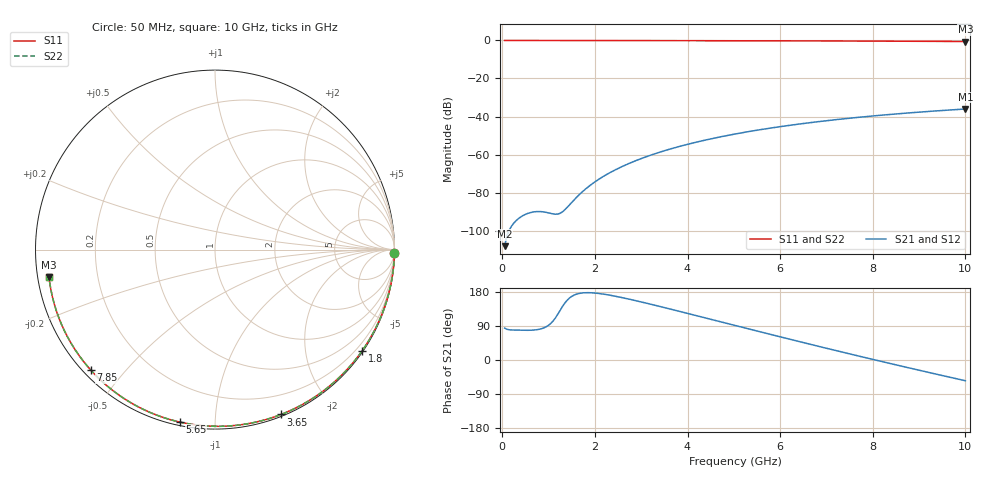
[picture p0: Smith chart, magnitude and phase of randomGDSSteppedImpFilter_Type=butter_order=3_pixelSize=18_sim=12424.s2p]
! freq	dB(S11)	phase(S11)	dB(S12)	phase(S12)
!  dB(S21)	phase(S21)	dB(S22)	phase(S22)
!S-par simulation data
#  GHz  S  DB  R 50
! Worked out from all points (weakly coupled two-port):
!   200 points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, 50 MHz to 10 GHz, reference 50 ohm
!   highest |S21| = -36.05 dB at 10 GHz (marker M1); lowest = -108.2 dB at 50 MHz (marker M2)
!   lowest |S11| = -0.6 dB at 10 GHz (marker M3), VSWR 31.00, Z = 1.62 - j4.16 ohm
!   |S11| at or under -10 dB: nowhere
!   |S22| runs from -0.6 to 0.0 dB; largest |S21 - S12| = 0
!   S11 on the Smith chart (normalised r, x): 50 MHz: open; 1.8 GHz: 0.03, -3.21; 3.65 GHz: 0.02, -1.48; 5.65 GHz: 0.02, -0.82; 7.85 GHz: 0.02, -0.40; 10 GHz: 0.03, -0.08
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0.05  -0.00 -1.0  -108.18 84.3  -108.18 84.3  -0.00 -1.0
0.45  -0.01 -8.8  -92.05 78.5  -92.05 78.5  -0.01 -8.8
0.85  -0.02 -16.6  -90.05 82.7  -90.05 82.7  -0.02 -16.6
1.7  -0.04 -32.8  -80.22 176.5  -80.22 176.5  -0.04 -32.8
1.75  -0.04 -33.7  -79.13 177.2  -79.13 177.2  -0.04 -33.7
1.8  -0.04 -34.6  -78.08 177.6  -78.08 177.6  -0.04 -34.6
1.95  -0.05 -37.4  -75.24 177.2  -75.24 177.2  -0.05 -37.4
2.1  -0.05 -40.2  -72.75 175.3  -72.75 175.3  -0.05 -40.2
2.45  -0.06 -46.7  -67.92 168.1  -67.92 168.1  -0.06 -46.7
2.9  -0.07 -54.9  -63.05 156.1  -63.05 156.1  -0.07 -54.9
3.4  -0.08 -63.8  -58.75 141.4  -58.75 141.4  -0.08 -63.8
3.65  -0.09 -68.2  -56.92 133.8  -56.92 133.8  -0.09 -68.2
4.3  -0.11 -79.4  -52.86 113.7  -52.86 113.7  -0.11 -79.4
5.05  -0.14 -91.8  -49.10 90.4  -49.10 90.4  -0.14 -91.9
5.65  -0.17 -101.6  -46.61 71.9  -46.61 71.9  -0.17 -101.6
6.15  -0.20 -109.5  -44.81 56.6  -44.81 56.6  -0.20 -109.5
6.7  -0.23 -118.2  -43.07 39.9  -43.07 39.9  -0.23 -118.2
7.25  -0.27 -126.7  -41.53 23.5  -41.53 23.5  -0.27 -126.7
7.85  -0.32 -136.0  -40.05 5.9  -40.05 5.9  -0.32 -136.0
8.35  -0.37 -143.7  -38.95 -8.5  -38.95 -8.5  -0.37 -143.7
9.2  -0.46 -157.2  -37.33 -32.6  -37.33 -32.6  -0.46 -157.2
10  -0.56 -170.5  -36.05 -54.7  -36.05 -54.7  -0.56 -170.5
